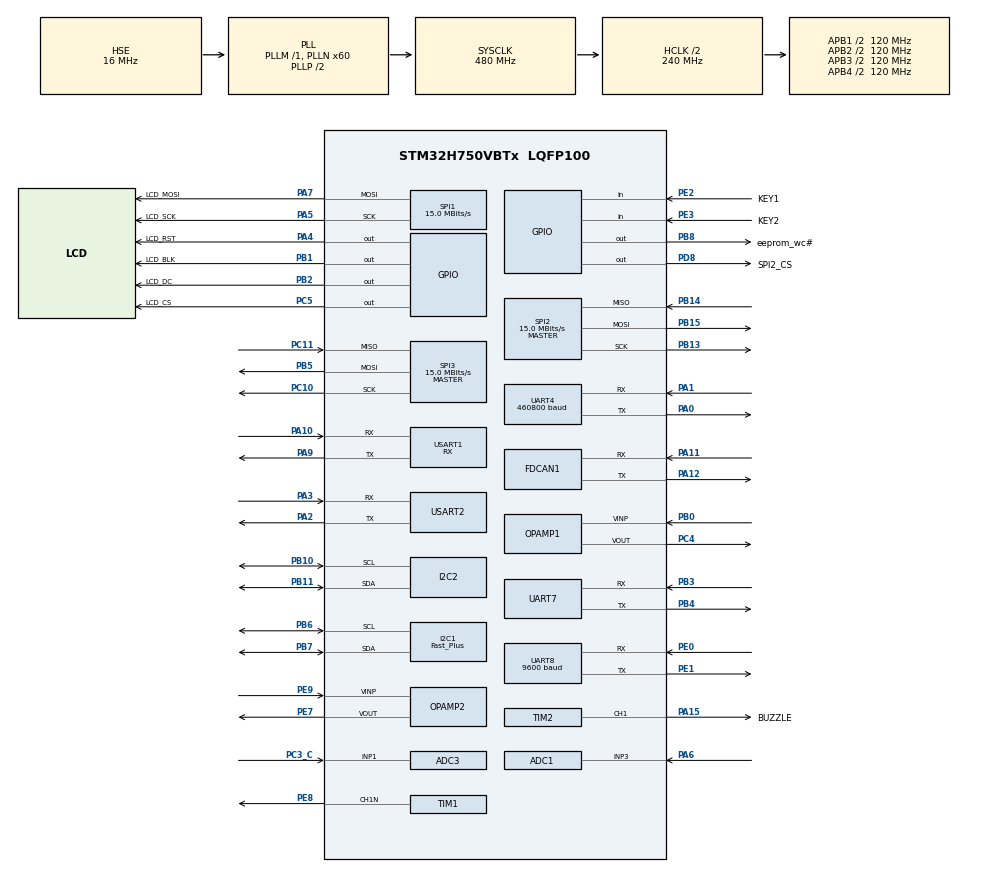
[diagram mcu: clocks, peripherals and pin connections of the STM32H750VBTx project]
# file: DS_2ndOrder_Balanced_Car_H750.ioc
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ADC1.Channel-0\#ChannelRegularConversion=ADC_CHANNEL_3
ADC1.ContinuousConvMode=ENABLE
ADC1.NbrOfConversionFlag=1
ADC1.OffsetNumber-0\#ChannelRegularConversion=ADC_OFFSET_NONE
ADC1.OffsetSignedSaturation-0\#ChannelRegularConversion=DISABLE
ADC1.Overrun=ADC_OVR_DATA_OVERWRITTEN
ADC1.OversamplingMode=ENABLE
ADC1.Rank-0\#ChannelRegularConversion=1
ADC1.Ratio=1024
ADC1.RightBitShift=ADC_RIGHTBITSHIFT_10
ADC1.SamplingTime-0\#ChannelRegularConversion=ADC_SAMPLETIME_2CYCLES_5
ADC1.master=1
ADC3.Channel-0\#ChannelRegularConversion=ADC_CHANNEL_1
ADC3.ContinuousConvMode=ENABLE
ADC3.EnableAnalogWatchDog1=false
ADC3.NbrOfConversionFlag=1
ADC3.OffsetNumber-0\#ChannelRegularConversion=ADC_OFFSET_NONE
ADC3.OffsetSignedSaturation-0\#ChannelRegularConversion=DISABLE
ADC3.Overrun=ADC_OVR_DATA_OVERWRITTEN
ADC3.OversamplingMode=ENABLE
ADC3.Rank-0\#ChannelRegularConversion=1
ADC3.Ratio=1024
ADC3.RightBitShift=ADC_RIGHTBITSHIFT_10
ADC3.SamplingTime-0\#ChannelRegularConversion=ADC_SAMPLETIME_2CYCLES_5
CORTEX_M7.AccessPermission_Spec=MPU_REGION_FULL_ACCESS
CORTEX_M7.BaseAddress_Spec=0x24000000
CORTEX_M7.CPU_DCache=Enabled
CORTEX_M7.CPU_ICache=Enabled
CORTEX_M7.DisableExec_Spec=MPU_INSTRUCTION_ACCESS_ENABLE
CORTEX_M7.IsShareable_Spec=MPU_ACCESS_NOT_SHAREABLE
CORTEX_M7.Size_Spec=MPU_REGION_SIZE_512KB
CORTEX_M7.SubRegionDisable_Spec=0x0
CORTEX_M7.TypeExtField_Spec=MPU_TEX_LEVEL1
CORTEX_M7.default_mode_Activation=1
Dma.Request0=USART1_RX
Dma.Request1=SPI1_TX
Dma.Request2=UART8_RX
Dma.Request3=UART8_TX
Dma.Request4=UART4_RX
Dma.Request5=UART4_TX
Dma.Request6=UART7_TX
Dma.Request7=TIM1_CH1
Dma.SPI1_TX.1.Direction=DMA_MEMORY_TO_PERIPH
Dma.SPI1_TX.1.EventEnable=DISABLE
Dma.SPI1_TX.1.FIFOMode=DMA_FIFOMODE_DISABLE
Dma.SPI1_TX.1.Instance=DMA1_Stream1
Dma.SPI1_TX.1.MemDataAlignment=DMA_MDATAALIGN_BYTE
Dma.SPI1_TX.1.MemInc=DMA_MINC_ENABLE
Dma.SPI1_TX.1.Mode=DMA_NORMAL
Dma.SPI1_TX.1.PeriphDataAlignment=DMA_PDATAALIGN_BYTE
Dma.SPI1_TX.1.PeriphInc=DMA_PINC_DISABLE
Dma.SPI1_TX.1.Polarity=HAL_DMAMUX_REQ_GEN_RISING
Dma.SPI1_TX.1.Priority=DMA_PRIORITY_LOW
Dma.SPI1_TX.1.RequestNumber=1
Dma.SPI1_TX.1.SignalID=NONE
Dma.SPI1_TX.1.SyncEnable=DISABLE
Dma.SPI1_TX.1.SyncPolarity=HAL_DMAMUX_SYNC_NO_EVENT
Dma.SPI1_TX.1.SyncRequestNumber=1
Dma.SPI1_TX.1.SyncSignalID=NONE
Dma.TIM1_CH1.7.Direction=DMA_MEMORY_TO_PERIPH
Dma.TIM1_CH1.7.EventEnable=DISABLE
Dma.TIM1_CH1.7.FIFOMode=DMA_FIFOMODE_DISABLE
Dma.TIM1_CH1.7.Instance=DMA1_Stream5
Dma.TIM1_CH1.7.MemDataAlignment=DMA_MDATAALIGN_HALFWORD
Dma.TIM1_CH1.7.MemInc=DMA_MINC_ENABLE
Dma.TIM1_CH1.7.Mode=DMA_CIRCULAR
Dma.TIM1_CH1.7.PeriphDataAlignment=DMA_PDATAALIGN_HALFWORD
Dma.TIM1_CH1.7.PeriphInc=DMA_PINC_DISABLE
Dma.TIM1_CH1.7.Polarity=HAL_DMAMUX_REQ_GEN_RISING
Dma.TIM1_CH1.7.Priority=DMA_PRIORITY_LOW
Dma.TIM1_CH1.7.RequestNumber=1
Dma.TIM1_CH1.7.SignalID=NONE
Dma.TIM1_CH1.7.SyncEnable=DISABLE
Dma.TIM1_CH1.7.SyncPolarity=HAL_DMAMUX_SYNC_NO_EVENT
Dma.TIM1_CH1.7.SyncRequestNumber=1
Dma.TIM1_CH1.7.SyncSignalID=NONE
Dma.UART4_RX.4.Direction=DMA_PERIPH_TO_MEMORY
Dma.UART4_RX.4.EventEnable=DISABLE
Dma.UART4_RX.4.FIFOMode=DMA_FIFOMODE_DISABLE
Dma.UART4_RX.4.Instance=DMA2_Stream1
Dma.UART4_RX.4.MemDataAlignment=DMA_MDATAALIGN_BYTE
Dma.UART4_RX.4.MemInc=DMA_MINC_ENABLE
Dma.UART4_RX.4.Mode=DMA_NORMAL
Dma.UART4_RX.4.PeriphDataAlignment=DMA_PDATAALIGN_BYTE
Dma.UART4_RX.4.PeriphInc=DMA_PINC_DISABLE
Dma.UART4_RX.4.Polarity=HAL_DMAMUX_REQ_GEN_RISING
Dma.UART4_RX.4.Priority=DMA_PRIORITY_VERY_HIGH
Dma.UART4_RX.4.RequestNumber=1
Dma.UART4_RX.4.SignalID=NONE
Dma.UART4_RX.4.SyncEnable=DISABLE
Dma.UART4_RX.4.SyncPolarity=HAL_DMAMUX_SYNC_NO_EVENT
Dma.UART4_RX.4.SyncRequestNumber=1
Dma.UART4_RX.4.SyncSignalID=NONE
Dma.UART4_TX.5.Direction=DMA_MEMORY_TO_PERIPH
Dma.UART4_TX.5.EventEnable=DISABLE
Dma.UART4_TX.5.FIFOMode=DMA_FIFOMODE_DISABLE
Dma.UART4_TX.5.Instance=DMA1_Stream6
Dma.UART4_TX.5.MemDataAlignment=DMA_MDATAALIGN_BYTE
Dma.UART4_TX.5.MemInc=DMA_MINC_ENABLE
Dma.UART4_TX.5.Mode=DMA_NORMAL
Dma.UART4_TX.5.PeriphDataAlignment=DMA_PDATAALIGN_BYTE
Dma.UART4_TX.5.PeriphInc=DMA_PINC_DISABLE
Dma.UART4_TX.5.Polarity=HAL_DMAMUX_REQ_GEN_RISING
Dma.UART4_TX.5.Priority=DMA_PRIORITY_LOW
Dma.UART4_TX.5.RequestNumber=1
Dma.UART4_TX.5.SignalID=NONE
Dma.UART4_TX.5.SyncEnable=DISABLE
Dma.UART4_TX.5.SyncPolarity=HAL_DMAMUX_SYNC_NO_EVENT
Dma.UART4_TX.5.SyncRequestNumber=1
Dma.UART4_TX.5.SyncSignalID=NONE
Dma.UART7_TX.6.Direction=DMA_MEMORY_TO_PERIPH
Dma.UART7_TX.6.EventEnable=DISABLE
Dma.UART7_TX.6.FIFOMode=DMA_FIFOMODE_DISABLE
Dma.UART7_TX.6.Instance=DMA1_Stream2
Dma.UART7_TX.6.MemDataAlignment=DMA_MDATAALIGN_BYTE
Dma.UART7_TX.6.MemInc=DMA_MINC_ENABLE
Dma.UART7_TX.6.Mode=DMA_NORMAL
Dma.UART7_TX.6.PeriphDataAlignment=DMA_PDATAALIGN_BYTE
Dma.UART7_TX.6.PeriphInc=DMA_PINC_DISABLE
Dma.UART7_TX.6.Polarity=HAL_DMAMUX_REQ_GEN_RISING
Dma.UART7_TX.6.Priority=DMA_PRIORITY_LOW
Dma.UART7_TX.6.RequestNumber=1
Dma.UART7_TX.6.SignalID=NONE
Dma.UART7_TX.6.SyncEnable=DISABLE
Dma.UART7_TX.6.SyncPolarity=HAL_DMAMUX_SYNC_NO_EVENT
Dma.UART7_TX.6.SyncRequestNumber=1
Dma.UART7_TX.6.SyncSignalID=NONE
Dma.UART8_RX.2.Direction=DMA_PERIPH_TO_MEMORY
Dma.UART8_RX.2.EventEnable=DISABLE
Dma.UART8_RX.2.FIFOMode=DMA_FIFOMODE_DISABLE
Dma.UART8_RX.2.Instance=DMA1_Stream3
Dma.UART8_RX.2.MemDataAlignment=DMA_MDATAALIGN_BYTE
Dma.UART8_RX.2.MemInc=DMA_MINC_ENABLE
Dma.UART8_RX.2.Mode=DMA_NORMAL
Dma.UART8_RX.2.PeriphDataAlignment=DMA_PDATAALIGN_BYTE
Dma.UART8_RX.2.PeriphInc=DMA_PINC_DISABLE
Dma.UART8_RX.2.Polarity=HAL_DMAMUX_REQ_GEN_RISING
Dma.UART8_RX.2.Priority=DMA_PRIORITY_LOW
Dma.UART8_RX.2.RequestNumber=1
Dma.UART8_RX.2.SignalID=NONE
Dma.UART8_RX.2.SyncEnable=DISABLE
Dma.UART8_RX.2.SyncPolarity=HAL_DMAMUX_SYNC_NO_EVENT
Dma.UART8_RX.2.SyncRequestNumber=1
Dma.UART8_RX.2.SyncSignalID=NONE
Dma.UART8_TX.3.Direction=DMA_MEMORY_TO_PERIPH
Dma.UART8_TX.3.EventEnable=DISABLE
Dma.UART8_TX.3.FIFOMode=DMA_FIFOMODE_DISABLE
Dma.UART8_TX.3.Instance=DMA1_Stream4
Dma.UART8_TX.3.MemDataAlignment=DMA_MDATAALIGN_BYTE
Dma.UART8_TX.3.MemInc=DMA_MINC_ENABLE
Dma.UART8_TX.3.Mode=DMA_NORMAL
Dma.UART8_TX.3.PeriphDataAlignment=DMA_PDATAALIGN_BYTE
Dma.UART8_TX.3.PeriphInc=DMA_PINC_DISABLE
Dma.UART8_TX.3.Polarity=HAL_DMAMUX_REQ_GEN_RISING
Dma.UART8_TX.3.Priority=DMA_PRIORITY_LOW
Dma.UART8_TX.3.RequestNumber=1
Dma.UART8_TX.3.SignalID=NONE
Dma.UART8_TX.3.SyncEnable=DISABLE
Dma.UART8_TX.3.SyncPolarity=HAL_DMAMUX_SYNC_NO_EVENT
Dma.UART8_TX.3.SyncRequestNumber=1
Dma.UART8_TX.3.SyncSignalID=NONE
Dma.USART1_RX.0.Direction=DMA_PERIPH_TO_MEMORY
Dma.USART1_RX.0.EventEnable=DISABLE
Dma.USART1_RX.0.FIFOMode=DMA_FIFOMODE_DISABLE
Dma.USART1_RX.0.Instance=DMA1_Stream0
Dma.USART1_RX.0.MemDataAlignment=DMA_MDATAALIGN_BYTE
Dma.USART1_RX.0.MemInc=DMA_MINC_ENABLE
Dma.USART1_RX.0.Mode=DMA_NORMAL
Dma.USART1_RX.0.PeriphDataAlignment=DMA_PDATAALIGN_BYTE
Dma.USART1_RX.0.PeriphInc=DMA_PINC_DISABLE
Dma.USART1_RX.0.Polarity=HAL_DMAMUX_REQ_GEN_RISING
Dma.USART1_RX.0.Priority=DMA_PRIORITY_LOW
Dma.USART1_RX.0.RequestNumber=1
Dma.USART1_RX.0.SignalID=NONE
Dma.USART1_RX.0.SyncEnable=DISABLE
Dma.USART1_RX.0.SyncPolarity=HAL_DMAMUX_SYNC_NO_EVENT
Dma.USART1_RX.0.SyncRequestNumber=1
Dma.USART1_RX.0.SyncSignalID=NONE
FDCAN1.CalculateBaudRateNominal=1000000
FDCAN1.CalculateTimeBitNominal=1000
FDCAN1.CalculateTimeQuantumNominal=25.0
FDCAN1.DataPrescaler=3
FDCAN1.DataSyncJumpWidth=10
FDCAN1.DataTimeSeg1=29
FDCAN1.DataTimeSeg2=10
FDCAN1.NominalPrescaler=3
FDCAN1.NominalSyncJumpWidth=10
FDCAN1.NominalTimeSeg1=29
FDCAN1.NominalTimeSeg2=10
FDCAN1.ProtocolException=DISABLE
FDCAN1.RxFifo0ElmtsNbr=1
FDCAN1.StdFiltersNbr=1
FDCAN1.TxFifoQueueElmtsNbr=16
I2C1.I2C_Speed_Mode=I2C_Fast_Plus
I2C1.Timing=0x0050174F
I2C2.Timing=0x307075B1
Mcu.Family=STM32H7
Mcu.Name=STM32H750VBTx
Mcu.Package=LQFP100
NVIC.DMA1_Stream0_IRQn=true\:7\:1\:true\:false\:true\:false\:true\:true
NVIC.DMA1_Stream1_IRQn=true\:7\:0\:true\:false\:true\:false\:true\:true
NVIC.DMA1_Stream2_IRQn=true\:0\:0\:false\:false\:true\:false\:true\:true
NVIC.DMA1_Stream3_IRQn=true\:7\:0\:true\:false\:true\:false\:true\:true
NVIC.DMA1_Stream4_IRQn=true\:7\:0\:true\:false\:true\:false\:true\:true
NVIC.DMA1_Stream5_IRQn=true\:0\:0\:false\:false\:true\:false\:true\:true
NVIC.DMA1_Stream6_IRQn=true\:7\:0\:true\:false\:true\:false\:true\:true
NVIC.DMA2_Stream1_IRQn=true\:1\:0\:true\:false\:true\:false\:true\:true
NVIC.FDCAN1_IT0_IRQn=true\:0\:0\:false\:false\:true\:true\:true\:true
NVIC.PriorityGroup=NVIC_PRIORITYGROUP_3
NVIC.SPI1_IRQn=true\:0\:0\:false\:false\:true\:false\:true\:true
NVIC.TIM15_IRQn=true\:1\:0\:true\:false\:true\:true\:true\:true
NVIC.TIM8_BRK_TIM12_IRQn=true\:0\:0\:false\:false\:true\:true\:true\:true
NVIC.UART4_IRQn=true\:2\:0\:true\:false\:true\:true\:true\:true
NVIC.UART7_IRQn=true\:0\:0\:false\:false\:true\:true\:true\:true
NVIC.UART8_IRQn=true\:3\:0\:true\:false\:true\:true\:true\:true
NVIC.USART1_IRQn=true\:3\:0\:true\:false\:true\:true\:true\:true
PA0.Mode=Asynchronous
PA0.Signal=UART4_TX
PA1.Mode=Asynchronous
PA1.Signal=UART4_RX
PA10.GPIO_Speed=GPIO_SPEED_FREQ_VERY_HIGH
PA10.Mode=Asynchronous
PA10.Signal=USART1_RX
PA11.Mode=FDCAN_Activate
PA11.Signal=FDCAN1_RX
PA12.Mode=FDCAN_Activate
PA12.Signal=FDCAN1_TX
PA13\ (JTMS/SWDIO).Mode=Serial_Wire
PA13\ (JTMS/SWDIO).Signal=DEBUG_JTMS-SWDIO
PA14\ (JTCK/SWCLK).Mode=Serial_Wire
PA14\ (JTCK/SWCLK).Signal=DEBUG_JTCK-SWCLK
PA15\ (JTDI).GPIO_Label=BUZZLE
PA15\ (JTDI).Signal=S_TIM2_CH1_ETR
PA2.Mode=Asynchronous
PA2.Signal=USART2_TX
PA3.Mode=Asynchronous
PA3.Signal=USART2_RX
PA4.GPIO_Label=LCD_RST
PA4.GPIO_PuPd=GPIO_PULLUP
PA4.PinState=GPIO_PIN_SET
PA4.Signal=GPIO_Output
PA5.GPIO_Label=LCD_SCK
PA5.Mode=TX_Only_Simplex_Unidirect_Master
PA5.Signal=SPI1_SCK
PA6.Signal=ADCx_INP3
PA7.GPIO_Label=LCD_MOSI
PA7.Mode=TX_Only_Simplex_Unidirect_Master
PA7.Signal=SPI1_MOSI
PA9.GPIO_Speed=GPIO_SPEED_FREQ_VERY_HIGH
PA9.Mode=Asynchronous
PA9.Signal=USART1_TX
PB0.Mode=Follower
PB0.Signal=OPAMP1_VINP
PB1.GPIO_Label=LCD_BLK
PB1.GPIO_PuPd=GPIO_PULLDOWN
PB1.PinState=GPIO_PIN_SET
PB1.Signal=GPIO_Output
PB10.GPIO_Pu=GPIO_PULLUP
PB10.Mode=I2C
PB10.Signal=I2C2_SCL
PB11.GPIO_Pu=GPIO_PULLUP
PB11.Mode=I2C
PB11.Signal=I2C2_SDA
PB13.Mode=Full_Duplex_Master
PB13.Signal=SPI2_SCK
PB14.Mode=Full_Duplex_Master
PB14.Signal=SPI2_MISO
PB15.Mode=Full_Duplex_Master
PB15.Signal=SPI2_MOSI
PB2.GPIO_Label=LCD_DC
PB2.GPIO_PuPd=GPIO_PULLDOWN
PB2.GPIO_Speed=GPIO_SPEED_FREQ_VERY_HIGH
PB2.Signal=GPIO_Output
PB3\ (JTDO/TRACESWO).Mode=Asynchronous
PB3\ (JTDO/TRACESWO).Signal=UART7_RX
PB4\ (NJTRST).Mode=Asynchronous
PB4\ (NJTRST).Signal=UART7_TX
PB5.Mode=Full_Duplex_Master
PB5.Signal=SPI3_MOSI
PB6.GPIO_Pu=GPIO_PULLUP
PB6.GPIO_Speed=GPIO_SPEED_FREQ_VERY_HIGH
PB6.Mode=I2C
PB6.Signal=I2C1_SCL
PB7.GPIO_Pu=GPIO_PULLUP
PB7.GPIO_Speed=GPIO_SPEED_FREQ_VERY_HIGH
PB7.Mode=I2C
PB7.Signal=I2C1_SDA
PB8.GPIO_Label=eeprom_wc\#
PB8.GPIO_PuPd=GPIO_PULLDOWN
PB8.GPIO_Speed=GPIO_SPEED_FREQ_VERY_HIGH
PB8.PinState=GPIO_PIN_RESET
PB8.Signal=GPIO_Output
PC10.Mode=Full_Duplex_Master
PC10.Signal=SPI3_SCK
PC11.Mode=Full_Duplex_Master
PC11.Signal=SPI3_MISO
PC3_C.Mode=IN1-Single-Ended
PC3_C.Signal=ADC3_INP1
PC4.Mode=Follower
PC4.Signal=OPAMP1_VOUT
PC5.GPIO_Label=LCD_CS
PC5.GPIO_PuPd=GPIO_PULLUP
PC5.GPIO_Speed=GPIO_SPEED_FREQ_VERY_HIGH
PC5.PinState=GPIO_PIN_SET
PC5.Signal=GPIO_Output
PD8.GPIO_Label=SPI2_CS
PD8.GPIO_PuPd=GPIO_PULLDOWN
PD8.GPIO_Speed=GPIO_SPEED_FREQ_VERY_HIGH
PD8.Signal=GPIO_Output
PE0.Mode=Asynchronous
PE0.Signal=UART8_RX
PE1.Mode=Asynchronous
PE1.Signal=UART8_TX
PE2.GPIO_Label=KEY1
PE2.GPIO_PuPd=GPIO_PULLUP
PE2.Signal=GPIO_Input
PE3.GPIO_Label=KEY2
PE3.GPIO_PuPd=GPIO_PULLUP
PE3.Signal=GPIO_Input
PE7.Mode=Follower
PE7.Signal=OPAMP2_VOUT
PE8.GPIO_PuPd=GPIO_PULLDOWN
PE8.GPIO_Speed=GPIO_SPEED_FREQ_VERY_HIGH
PE8.Mode=PWM Generation1 CH1N
PE8.Signal=TIM1_CH1N
PE9.Mode=Follower
PE9.Signal=OPAMP2_VINP
PH0-OSC_IN\ (PH0).Mode=HSE-External-Oscillator
PH0-OSC_IN\ (PH0).Signal=RCC_OSC_IN
PH1-OSC_OUT\ (PH1).Mode=HSE-External-Oscillator
PH1-OSC_OUT\ (PH1).Signal=RCC_OSC_OUT
ProjectManager.HeapSize=0x4000
ProjectManager.StackSize=0x8000
ProjectManager.TargetToolchain=MDK-ARM V5.32
RCC.ADCFreq_Value=72000000
RCC.APB1Freq_Value=120000000
RCC.APB2Freq_Value=120000000
RCC.APB3Freq_Value=120000000
RCC.APB4Freq_Value=120000000
RCC.CortexFreq_Value=480000000
RCC.D1PPRE=RCC_APB3_DIV2
RCC.D2PPRE1=RCC_APB1_DIV2
RCC.D2PPRE2=RCC_APB2_DIV2
RCC.D3PPRE=RCC_APB4_DIV2
RCC.DIVM1=1
RCC.DIVM2=16
RCC.DIVM3=5
RCC.DIVN1=60
RCC.DIVN2=504
RCC.DIVP2=7
RCC.DIVQ1=8
RCC.DIVQ2=7
RCC.EnbaleCSS=false
RCC.HCLKFreq_Value=240000000
RCC.HPRE=RCC_HCLK_DIV2
RCC.HSE_VALUE=16000000
RCC.PLL2FRACN=0
RCC.PLL3FRACN=0
RCC.PLLFRACN=0
RCC.PLLSourceVirtual=RCC_PLLSOURCE_HSE
RCC.SYSCLKFreq_VALUE=480000000
RCC.SYSCLKSource=RCC_SYSCLKSOURCE_PLLCLK
RCC.USBFreq_Value=120000000
SH.ADCx_INP3.0=ADC1_INP3,IN3-Single-Ended
SH.S_TIM2_CH1_ETR.0=TIM2_CH1,PWM Generation1 CH1
SPI1.BaudRatePrescaler=SPI_BAUDRATEPRESCALER_8
SPI1.CalculateBaudRate=15.0 MBits/s
SPI1.DataSize=SPI_DATASIZE_8BIT
SPI1.Direction=SPI_DIRECTION_2LINES_TXONLY
SPI1.Mode=SPI_MODE_MASTER
SPI1.VirtualType=VM_MASTER
SPI2.BaudRatePrescaler=SPI_BAUDRATEPRESCALER_8
SPI2.CalculateBaudRate=15.0 MBits/s
SPI2.DataSize=SPI_DATASIZE_8BIT
SPI2.Direction=SPI_DIRECTION_2LINES
SPI2.Mode=SPI_MODE_MASTER
SPI2.VirtualType=VM_MASTER
SPI3.BaudRatePrescaler=SPI_BAUDRATEPRESCALER_8
SPI3.CalculateBaudRate=15.0 MBits/s
SPI3.DataSize=SPI_DATASIZE_8BIT
SPI3.Direction=SPI_DIRECTION_2LINES
SPI3.Mode=SPI_MODE_MASTER
SPI3.VirtualType=VM_MASTER
TIM1.AutoReloadPreload=TIM_AUTORELOAD_PRELOAD_ENABLE
TIM1.Channel-PWM\ Generation1\ CH1N=TIM_CHANNEL_1
TIM1.OCNIdleState_1=TIM_OCNIDLESTATE_RESET
TIM1.OCNPolarity_1=TIM_OCNPOLARITY_HIGH
TIM1.Period=300-1
TIM1.Prescaler=0
TIM1.Pulse-PWM\ Generation1\ CH1N=0
TIM1.RepetitionCounter=0
TIM12.Period=24-1
TIM12.Prescaler=10000-1
TIM15.Period=24-1
TIM15.Prescaler=50000-1
TIM2.Channel-PWM\ Generation1\ CH1=TIM_CHANNEL_1
TIM2.Period=10000
TIM2.Prescaler=24-1
UART4.BaudRate=460800
UART8.AutoBaudRateEnableParam=UART_ADVFEATURE_AUTOBAUDRATE_DISABLE
UART8.BaudRate=9600
USART1.AutoBaudRateEnableParam=UART_ADVFEATURE_AUTOBAUDRATE_ENABLE
USART1.Mode=MODE_RX
USART1.VirtualMode-Asynchronous=VM_ASYNC
USART2.VirtualMode-Asynchronous=VM_ASYNC
VP_MEMORYMAP_VS_MEMORYMAP.Mode=CurAppReg
VP_RNG_VS_RNG.Mode=RNG_Activate
VP_TIM12_VS_ClockSourceINT.Mode=Internal
VP_TIM15_VS_ClockSourceINT.Mode=Internal
VP_TIM1_VS_ClockSourceINT.Mode=Internal
VP_TIM2_VS_ClockSourceINT.Mode=Internal
VP_VREFBUF_V_VREFBUF.Mode=ExternalMode
board=custom

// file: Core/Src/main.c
/* USER CODE BEGIN Header */
/**
  ******************************************************************************
  * @file           : main.c
  * @brief          : Main program body
  ******************************************************************************
  * @attention
  *
  * Copyright (c) 2025 STMicroelectronics.
  * All rights reserved.
  *
  * This software is licensed under terms that can be found in the LICENSE file
  * in the root directory of this software component.
  * If no LICENSE file comes with this software, it is provided AS-IS.
  *
  ******************************************************************************
  */
/* USER CODE END Header */
#include "main.h"
#include "adc.h"
#include "dma.h"
#include "fdcan.h"
#include "i2c.h"
#include "memorymap.h"
#include "opamp.h"
#include "rng.h"
#include "spi.h"
#include "tim.h"
#include "usart.h"
#include "gpio.h"

void SystemClock_Config(void);
void PeriphCommonClock_Config(void);
static void MPU_Config(void);

int main(void)
{

  /* MPU Configuration--------------------------------------------------------*/
  MPU_Config();

  /* Enable the CPU Cache */

  /* Enable I-Cache---------------------------------------------------------*/
  SCB_EnableICache();

  /* Enable D-Cache---------------------------------------------------------*/
  SCB_EnableDCache();

  /* MCU Configuration--------------------------------------------------------*/

  /* Reset of all peripherals, Initializes the Flash interface and the Systick. */
  HAL_Init();

  /* USER CODE BEGIN Init */
	delay_init(480);
  /* USER CODE END Init */

  /* Configure the system clock */
  SystemClock_Config();

  /* Configure the peripherals common clocks */
  PeriphCommonClock_Config();

  /* Initialize all configured peripherals */
  MX_GPIO_Init();
  MX_DMA_Init();
  MX_USART1_UART_Init();
  MX_ADC1_Init();
  MX_OPAMP1_Init();
  MX_TIM1_Init();
  MX_RNG_Init();
  MX_ADC3_Init();
  MX_FDCAN1_Init();
  MX_I2C1_Init();
  MX_I2C2_Init();
  MX_OPAMP2_Init();
  MX_SPI1_Init();
  MX_SPI2_Init();
  MX_SPI3_Init();
  MX_TIM2_Init();
  MX_TIM12_Init();
  MX_TIM15_Init();
  MX_UART4_Init();
  MX_UART7_Init();
  MX_UART8_Init();
  MX_USART2_UART_Init();
  /* USER CODE BEGIN 2 */
	TFTSPI_Init();  //屏幕初始化lcd
	//HAL_TIMEx_PWMN_Start(&htim1,TIM_CHANNEL_1);
	WS2812_Init();
	HAL_OPAMP_Start(&hopamp1);//启动运放跟随器
	HAL_OPAMP_Start(&hopamp2);//启动运放跟随器
  HAL_ADC_Start(&hadc3);//启动ADC3采集电池电压
  HAL_ADC_Start(&hadc1);//启动ADC1采集电位器电压
	FDCAN1_Config();//配置FDCAN1，与C610电调通信
	Control_Init();//控制器初始化
	if(E2P_Check())//EEPROM检测
	{
		TFT_Printf(0,0,COLOR_RED,COLOR_BLACK,fsize_12X24,"EEPROM_ERR");
	}
	else
	{
		E2P_Read_allParam();//读取EEPROM中的参数 放在control_init之前
	}
	HAL_UARTEx_ReceiveToIdle_DMA(&huart4, UART4_RX_BUF, 128); //开启imu数据接收DMA空闲中断
	HAL_UARTEx_ReceiveToIdle_DMA(&huart1, USART1_RX_BUF, 128); //开启视觉数据接收DMA空闲中断
	HAL_UARTEx_ReceiveToIdle_DMA(&huart8, UART8_RX_BUF, 128); //开启蓝牙数据接收DMA空闲中断
	HAL_TIM_Base_Start_IT(&htim12);//任务定时器启动
	HAL_TIM_Base_Start_IT(&htim15);//任务定时器启动
	while(the_car.IMU.is_ok != 1)//等待IMU初始化
	{
		TFT_Printf(32,60,COLOR_RED,COLOR_BLACK,fsize_16X32,"IMU_Waiting");
	}
  /* USER CODE END 2 */

  /* Infinite loop */
  /* USER CODE BEGIN WHILE */
  while (1)
  {
		main_menu();
    /* USER CODE END WHILE */

  }
}

void SystemClock_Config(void)
{
  RCC_OscInitTypeDef RCC_OscInitStruct = {0};
  RCC_ClkInitTypeDef RCC_ClkInitStruct = {0};

  /** Supply configuration update enable
  */
  HAL_PWREx_ConfigSupply(PWR_LDO_SUPPLY);

  /** Configure the main internal regulator output voltage
  */
  __HAL_PWR_VOLTAGESCALING_CONFIG(PWR_REGULATOR_VOLTAGE_SCALE1);

  while(!__HAL_PWR_GET_FLAG(PWR_FLAG_VOSRDY)) {}

  __HAL_RCC_SYSCFG_CLK_ENABLE();
  __HAL_PWR_VOLTAGESCALING_CONFIG(PWR_REGULATOR_VOLTAGE_SCALE0);

  while(!__HAL_PWR_GET_FLAG(PWR_FLAG_VOSRDY)) {}

  /** Initializes the RCC Oscillators according to the specified parameters
  * in the RCC_OscInitTypeDef structure.
  */
  RCC_OscInitStruct.OscillatorType = RCC_OSCILLATORTYPE_HSI48|RCC_OSCILLATORTYPE_HSE;
  RCC_OscInitStruct.HSEState = RCC_HSE_ON;
  RCC_OscInitStruct.HSI48State = RCC_HSI48_ON;
  RCC_OscInitStruct.PLL.PLLState = RCC_PLL_ON;
  RCC_OscInitStruct.PLL.PLLSource = RCC_PLLSOURCE_HSE;
  RCC_OscInitStruct.PLL.PLLM = 1;
  RCC_OscInitStruct.PLL.PLLN = 60;
  RCC_OscInitStruct.PLL.PLLP = 2;
  RCC_OscInitStruct.PLL.PLLQ = 8;
  RCC_OscInitStruct.PLL.PLLR = 2;
  RCC_OscInitStruct.PLL.PLLRGE = RCC_PLL1VCIRANGE_3;
  RCC_OscInitStruct.PLL.PLLVCOSEL = RCC_PLL1VCOWIDE;
  RCC_OscInitStruct.PLL.PLLFRACN = 0;
  if (HAL_RCC_OscConfig(&RCC_OscInitStruct) != HAL_OK)
  {
    Error_Handler();
  }

  /** Initializes the CPU, AHB and APB buses clocks
  */
  RCC_ClkInitStruct.ClockType = RCC_CLOCKTYPE_HCLK|RCC_CLOCKTYPE_SYSCLK
                              |RCC_CLOCKTYPE_PCLK1|RCC_CLOCKTYPE_PCLK2
                              |RCC_CLOCKTYPE_D3PCLK1|RCC_CLOCKTYPE_D1PCLK1;
  RCC_ClkInitStruct.SYSCLKSource = RCC_SYSCLKSOURCE_PLLCLK;
  RCC_ClkInitStruct.SYSCLKDivider = RCC_SYSCLK_DIV1;
  RCC_ClkInitStruct.AHBCLKDivider = RCC_HCLK_DIV2;
  RCC_ClkInitStruct.APB3CLKDivider = RCC_APB3_DIV2;
  RCC_ClkInitStruct.APB1CLKDivider = RCC_APB1_DIV2;
  RCC_ClkInitStruct.APB2CLKDivider = RCC_APB2_DIV2;
  RCC_ClkInitStruct.APB4CLKDivider = RCC_APB4_DIV2;

  if (HAL_RCC_ClockConfig(&RCC_ClkInitStruct, FLASH_LATENCY_4) != HAL_OK)
  {
    Error_Handler();
  }
}

void PeriphCommonClock_Config(void)
{
  RCC_PeriphCLKInitTypeDef PeriphClkInitStruct = {0};

  /** Initializes the peripherals clock
  */
  PeriphClkInitStruct.PeriphClockSelection = RCC_PERIPHCLK_ADC;
  PeriphClkInitStruct.PLL2.PLL2M = 16;
  PeriphClkInitStruct.PLL2.PLL2N = 504;
  PeriphClkInitStruct.PLL2.PLL2P = 7;
  PeriphClkInitStruct.PLL2.PLL2Q = 7;
  PeriphClkInitStruct.PLL2.PLL2R = 2;
  PeriphClkInitStruct.PLL2.PLL2RGE = RCC_PLL2VCIRANGE_0;
  PeriphClkInitStruct.PLL2.PLL2VCOSEL = RCC_PLL2VCOWIDE;
  PeriphClkInitStruct.PLL2.PLL2FRACN = 0;
  PeriphClkInitStruct.AdcClockSelection = RCC_ADCCLKSOURCE_PLL2;
  if (HAL_RCCEx_PeriphCLKConfig(&PeriphClkInitStruct) != HAL_OK)
  {
    Error_Handler();
  }
}

 /* MPU Configuration */

void MPU_Config(void)
{
  MPU_Region_InitTypeDef MPU_InitStruct = {0};

  /* Disables the MPU */
  HAL_MPU_Disable();

  /** Initializes and configures the Region and the memory to be protected
  */
  MPU_InitStruct.Enable = MPU_REGION_ENABLE;
  MPU_InitStruct.Number = MPU_REGION_NUMBER0;
  MPU_InitStruct.BaseAddress = 0x24000000;
  MPU_InitStruct.Size = MPU_REGION_SIZE_512KB;
  MPU_InitStruct.SubRegionDisable = 0x0;
  MPU_InitStruct.TypeExtField = MPU_TEX_LEVEL1;
  MPU_InitStruct.AccessPermission = MPU_REGION_FULL_ACCESS;
  MPU_InitStruct.DisableExec = MPU_INSTRUCTION_ACCESS_ENABLE;
  MPU_InitStruct.IsShareable = MPU_ACCESS_NOT_SHAREABLE;
  MPU_InitStruct.IsCacheable = MPU_ACCESS_NOT_CACHEABLE;
  MPU_InitStruct.IsBufferable = MPU_ACCESS_NOT_BUFFERABLE;

  HAL_MPU_ConfigRegion(&MPU_InitStruct);
  /* Enables the MPU */
  HAL_MPU_Enable(MPU_PRIVILEGED_DEFAULT);

}

void Error_Handler(void)
{
  __disable_irq();
  while (1)
  {
  }
}
